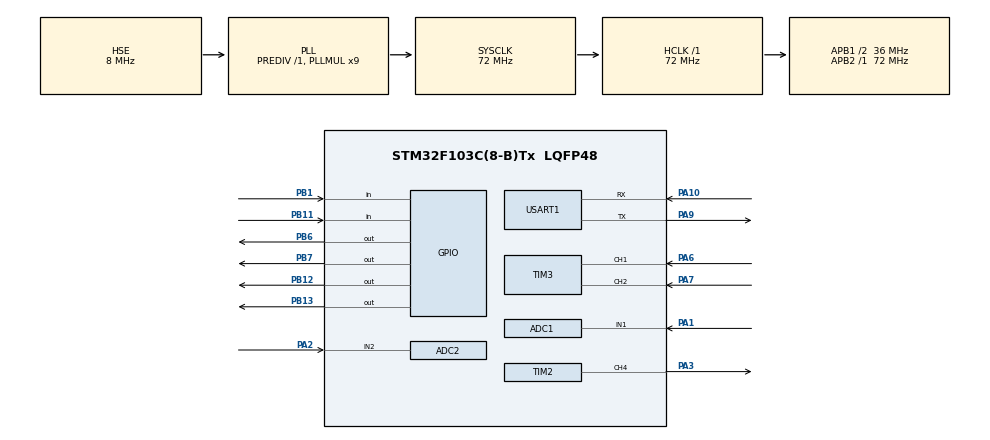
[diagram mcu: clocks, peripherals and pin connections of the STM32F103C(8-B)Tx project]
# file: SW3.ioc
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ADC1.Channel-0\#ChannelRegularConversion=ADC_CHANNEL_1
ADC1.NbrOfConversionFlag=1
ADC1.Rank-0\#ChannelRegularConversion=1
ADC1.SamplingTime-0\#ChannelRegularConversion=ADC_SAMPLETIME_1CYCLE_5
ADC1.master=1
ADC2.Channel-0\#ChannelRegularConversion=ADC_CHANNEL_2
ADC2.NbrOfConversionFlag=1
ADC2.Rank-0\#ChannelRegularConversion=1
ADC2.SamplingTime-0\#ChannelRegularConversion=ADC_SAMPLETIME_1CYCLE_5
FREERTOS.Tasks01=defaultTask,24,128,StartDefaultTask,Default,NULL,Dynamic,NULL,NULL
Mcu.Family=STM32F1
Mcu.Name=STM32F103C(8-B)Tx
Mcu.Package=LQFP48
NVIC.PriorityGroup=NVIC_PRIORITYGROUP_4
NVIC.TIM1_UP_IRQn=true\:15\:0\:false\:false\:true\:false\:false\:true\:true
NVIC.TIM4_IRQn=true\:5\:0\:false\:false\:true\:true\:true\:true\:true
NVIC.TimeBase=TIM1_UP_IRQn
NVIC.TimeBaseIP=TIM1
PA1.Signal=ADCx_IN1
PA10.Mode=Asynchronous
PA10.Signal=USART1_RX
PA13.Mode=Serial_Wire
PA13.Signal=SYS_JTMS-SWDIO
PA14.Mode=Serial_Wire
PA14.Signal=SYS_JTCK-SWCLK
PA2.Signal=ADCx_IN2
PA3.Signal=S_TIM2_CH4
PA6.Signal=S_TIM3_CH1
PA7.Signal=S_TIM3_CH2
PA9.Mode=Asynchronous
PA9.Signal=USART1_TX
PB1.GPIO_PuPd=GPIO_PULLUP
PB1.Signal=GPIO_Input
PB11.GPIO_PuPd=GPIO_PULLUP
PB11.Signal=GPIO_Input
PB12.GPIO_Speed=GPIO_SPEED_FREQ_HIGH
PB12.PinState=GPIO_PIN_SET
PB12.Signal=GPIO_Output
PB13.GPIO_Speed=GPIO_SPEED_FREQ_HIGH
PB13.PinState=GPIO_PIN_SET
PB13.Signal=GPIO_Output
PB6.GPIO_ModeDefaultOutputPP=GPIO_MODE_OUTPUT_OD
PB6.GPIO_PuPd=GPIO_NOPULL
PB6.GPIO_Speed=GPIO_SPEED_FREQ_HIGH
PB6.PinState=GPIO_PIN_SET
PB6.Signal=GPIO_Output
PB7.GPIO_ModeDefaultOutputPP=GPIO_MODE_OUTPUT_OD
PB7.GPIO_PuPd=GPIO_NOPULL
PB7.GPIO_Speed=GPIO_SPEED_FREQ_HIGH
PB7.PinState=GPIO_PIN_SET
PB7.Signal=GPIO_Output
PD0-OSC_IN.Mode=HSE-External-Oscillator
PD0-OSC_IN.Signal=RCC_OSC_IN
PD1-OSC_OUT.Mode=HSE-External-Oscillator
PD1-OSC_OUT.Signal=RCC_OSC_OUT
ProjectManager.HeapSize=0x200
ProjectManager.StackSize=0x400
ProjectManager.TargetToolchain=MDK-ARM V5.32
RCC.ADCPresc=RCC_ADCPCLK2_DIV6
RCC.AHBFreq_Value=72000000
RCC.APB1CLKDivider=RCC_HCLK_DIV2
RCC.APB1Freq_Value=36000000
RCC.APB1TimFreq_Value=72000000
RCC.APB2Freq_Value=72000000
RCC.APB2TimFreq_Value=72000000
RCC.HCLKFreq_Value=72000000
RCC.PLLMUL=RCC_PLL_MUL9
RCC.PLLSourceVirtual=RCC_PLLSOURCE_HSE
RCC.SYSCLKFreq_VALUE=72000000
RCC.SYSCLKSource=RCC_SYSCLKSOURCE_PLLCLK
RCC.USBFreq_Value=72000000
SH.ADCx_IN1.0=ADC1_IN1,IN1
SH.ADCx_IN2.0=ADC2_IN2,IN2
SH.S_TIM2_CH4.0=TIM2_CH4,PWM Generation4 CH4
SH.S_TIM3_CH1.0=TIM3_CH1,Encoder_Interface
SH.S_TIM3_CH2.0=TIM3_CH2,Encoder_Interface
TIM2.Channel-PWM\ Generation4\ CH4=TIM_CHANNEL_4
TIM2.Period=100-1
TIM2.Prescaler=36-1
TIM4.Period=360-1
TIM4.Prescaler=2000-1
USART1.VirtualMode=VM_ASYNC
VP_FREERTOS_VS_CMSIS_V2.Mode=CMSIS_V2
VP_SYS_VS_tim1.Mode=TIM1
VP_TIM2_VS_ClockSourceINT.Mode=Internal
VP_TIM4_VS_ClockSourceINT.Mode=Internal
board=custom

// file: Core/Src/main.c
/* USER CODE BEGIN Header */
/**
  ******************************************************************************
  * @file           : main.c
  * @brief          : Main program body
  ******************************************************************************
  * @attention
  *
  * Copyright (c) 2026 STMicroelectronics.
  * All rights reserved.
  *
  * This software is licensed under terms that can be found in the LICENSE file
  * in the root directory of this software component.
  * If no LICENSE file comes with this software, it is provided AS-IS.
  *
  ******************************************************************************
  */
/* USER CODE END Header */
#include "main.h"
#include "cmsis_os.h"
#include "adc.h"
#include "tim.h"
#include "usart.h"
#include "gpio.h"

/* USER CODE BEGIN Includes */
#include "Key.h"
#include "ecoder.h"
#include "myADC.h"
#include "PWM.h"
/* USER CODE END Includes */

/* USER CODE BEGIN PD */
extern int16_t location;

extern float actual,target,out,cur_error;
extern float kp,ki,kd;
extern float error_Int;
static float last_error = 0;
/* USER CODE END PD */

void SystemClock_Config(void);
void MX_FREERTOS_Init(void);

int main(void)
{

  /* MCU Configuration--------------------------------------------------------*/

  /* Reset of all peripherals, Initializes the Flash interface and the Systick. */
  HAL_Init();

  /* Configure the system clock */
  SystemClock_Config();

  /* Initialize all configured peripherals */
  MX_GPIO_Init();
  MX_ADC1_Init();
  MX_TIM2_Init();
  MX_TIM3_Init();
  MX_TIM4_Init();
  MX_USART1_UART_Init();
  MX_ADC2_Init();
  /* USER CODE BEGIN 2 */
  PWM_Init();

  /* USER CODE END 2 */

  /* Init scheduler */
  osKernelInitialize();  /* Call init function for freertos objects (in cmsis_os2.c) */
  MX_FREERTOS_Init();

  /* Start scheduler */
  osKernelStart();

  /* We should never get here as control is now taken by the scheduler */

  /* Infinite loop */
  while (1)
  {

  }
}

void SystemClock_Config(void)
{
  RCC_OscInitTypeDef RCC_OscInitStruct = {0};
  RCC_ClkInitTypeDef RCC_ClkInitStruct = {0};
  RCC_PeriphCLKInitTypeDef PeriphClkInit = {0};

  /** Initializes the RCC Oscillators according to the specified parameters
  * in the RCC_OscInitTypeDef structure.
  */
  RCC_OscInitStruct.OscillatorType = RCC_OSCILLATORTYPE_HSE;
  RCC_OscInitStruct.HSEState = RCC_HSE_ON;
  RCC_OscInitStruct.HSEPredivValue = RCC_HSE_PREDIV_DIV1;
  RCC_OscInitStruct.HSIState = RCC_HSI_ON;
  RCC_OscInitStruct.PLL.PLLState = RCC_PLL_ON;
  RCC_OscInitStruct.PLL.PLLSource = RCC_PLLSOURCE_HSE;
  RCC_OscInitStruct.PLL.PLLMUL = RCC_PLL_MUL9;
  if (HAL_RCC_OscConfig(&RCC_OscInitStruct) != HAL_OK)
  {
    Error_Handler();
  }

  /** Initializes the CPU, AHB and APB buses clocks
  */
  RCC_ClkInitStruct.ClockType = RCC_CLOCKTYPE_HCLK|RCC_CLOCKTYPE_SYSCLK
                              |RCC_CLOCKTYPE_PCLK1|RCC_CLOCKTYPE_PCLK2;
  RCC_ClkInitStruct.SYSCLKSource = RCC_SYSCLKSOURCE_PLLCLK;
  RCC_ClkInitStruct.AHBCLKDivider = RCC_SYSCLK_DIV1;
  RCC_ClkInitStruct.APB1CLKDivider = RCC_HCLK_DIV2;
  RCC_ClkInitStruct.APB2CLKDivider = RCC_HCLK_DIV1;

  if (HAL_RCC_ClockConfig(&RCC_ClkInitStruct, FLASH_LATENCY_2) != HAL_OK)
  {
    Error_Handler();
  }
  PeriphClkInit.PeriphClockSelection = RCC_PERIPHCLK_ADC;
  PeriphClkInit.AdcClockSelection = RCC_ADCPCLK2_DIV6;
  if (HAL_RCCEx_PeriphCLKConfig(&PeriphClkInit) != HAL_OK)
  {
    Error_Handler();
  }
}

void HAL_TIM_PeriodElapsedCallback(TIM_HandleTypeDef *htim)
{
  if (htim->Instance == TIM1)
  {
    HAL_IncTick();
  }
  /* USER CODE BEGIN Callback 1 */
	if (htim->Instance == TIM4)
	{
    static uint16_t count;
    count++;
    if(count>=40)
    {
    MyTIM_Scan();
    count=0;

		int16_t speed_raw = Get_Speed();
		static int16_t filter_buf[5];
		static uint8_t idx=0;
		filter_buf[idx++] = speed_raw;
		if(idx>=5) idx=0;
		int32_t sum=0;
		for(int i=0;i<5;i++) sum += filter_buf[i];

		actual = sum /5;

	  location+=actual;

	  last_error=cur_error;
		cur_error=target-actual;

    if (ki != 0)
		{
			error_Int +=cur_error;		//进行误差积分
		}
		else
		{
			error_Int = 0;			//误差积分直接归0
		}

		out=kp*cur_error+ki*error_Int+kd*(cur_error-last_error);

		if(out>100)		out=100;
		if(out<-100)	out=-100;

		PWM_Set((int16_t)out);
    }
	}
  /* USER CODE END Callback 1 */
}

void Error_Handler(void)
{
  __disable_irq();
  while (1)
  {
  }
}

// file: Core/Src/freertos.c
/* USER CODE BEGIN Header */
/**
  ******************************************************************************
  * File Name          : freertos.c
  * Description        : Code for freertos applications
  ******************************************************************************
  * @attention
  *
  * Copyright (c) 2026 STMicroelectronics.
  * All rights reserved.
  *
  * This software is licensed under terms that can be found in the LICENSE file
  * in the root directory of this software component.
  * If no LICENSE file comes with this software, it is provided AS-IS.
  *
  ******************************************************************************
  */
/* USER CODE END Header */

#include "FreeRTOS.h"
#include "task.h"
#include "main.h"
#include "cmsis_os.h"

/* USER CODE BEGIN Includes */
#include "Key.h"
#include "OLED.h"
#include "myusart.h"
#include "ecoder.h"
#include "myADC.h"
#include "PWM.h"
/* USER CODE END Includes */

/* USER CODE BEGIN PD */
extern TIM_HandleTypeDef htim2;

int16_t location;
uint16_t ADC_1,ADC_2;
float actual,target=0,out,cur_error,error_Int;
float kp,ki,kd;
/* USER CODE END PD */

/* Definitions for defaultTask */
osThreadId_t defaultTaskHandle;
const osThreadAttr_t defaultTask_attributes = {
  .name = "defaultTask",
  .stack_size = 128 * 4,
  .priority = (osPriority_t) osPriorityNormal,
};

/* USER CODE BEGIN FunctionPrototypes */

/**
  * @brief  OLED显示屏部分
  * @param  无
  * @retval 无
  */
void Test_OLED(void *argument)
{
	OLED_Init();

	OLED_ShowString(1,1,"Tar:");
	OLED_ShowString(1,9,"Act:");
	OLED_ShowString(2,1,"Ac:");
	OLED_ShowString(2,9,"Lo:");
  OLED_ShowString(2,1,"Out:");
  OLED_ShowString(3,1,"Kp:");
  OLED_ShowString(3,9,"Ki");
	OLED_ShowString(4,1,"kd:");

	while(1)
	{
		OLED_ShowSignedNum(1,5,target,3);
		OLED_ShowSignedNum(1,13,actual,3);
		OLED_ShowSignedNum(2,12,location,4);
    OLED_ShowSignedNum(2,5,out,2);
    OLED_ShowNum(3,4,kp,2);

    OLED_ShowFloat(3,4,kp,1,2);
    OLED_ShowFloat(3,11,ki,1,3);
    OLED_ShowFloat(4,4,kd,1,2);

		osDelay(40);
	}
}

/**
  * @brief  串口部分
  * @param  无
  * @retval 无
  */
void Test_Usart(void *argument)
{
  while (1)
  {
    Send_JustFloat(target,actual,cur_error,out);
		osDelay(40);
  }
}

/**
  * @brief  电机部分
  * @param  无
  * @retval 无
  */
void Test_Motor(void *argument)
{

	Key_Init();
	PWM_Init();

	while(1)
	{
   if(target>40)
   {
    target=0;
   }
   if(Key_Get(0))
   {
    target+=10;
   }
   if(kd>2)
   {
    kd=0;
   }
   if(Key_Get(1))
   {
    target-=10;;
   }
			// PWM=(float)ADC*100/2048-100;
      // PWM_Set(PWM);

      osDelay(20);
	}
}

/**
  * @brief  编码器部分
  * @param  无
  * @retval 无
  */
void Test_Ecoder(void *argument)
{
	ecoder_Init();

	while(1)
	{
		osDelay(40);
	}
}

/**
  * @brief  模转数部分
  * @param  无
  * @retval 无
  */
void Test_ADC(void *argument)
{
	MyADC_Init();
	while(1)
	{
	  ADC_1=Get_ADC(hadc1);
    ADC_2=Get_ADC(hadc2);
    kp=ADC_1/4095.0f*8;
    ki=ADC_2/4095.0f*4;
		osDelay(40);
	}
}
/* USER CODE END FunctionPrototypes */

void StartDefaultTask(void *argument);

void MX_FREERTOS_Init(void); /* (MISRA C 2004 rule 8.1) */

void MX_FREERTOS_Init(void) {

  /* Create the thread(s) */
  /* creation of defaultTask */
  defaultTaskHandle = osThreadNew(StartDefaultTask, NULL, &defaultTask_attributes);

  /* USER CODE BEGIN RTOS_THREADS */
  /* add threads, ... */
	xTaskCreate(Test_OLED,"TestOLED",64,NULL,osPriorityNormal,NULL);
	xTaskCreate(Test_Motor,"TestMotor",64,NULL,osPriorityNormal,NULL);
	xTaskCreate(Test_ADC,"TestADC",64,NULL,osPriorityNormal,NULL);
	xTaskCreate(Test_Ecoder,"TestEcoder",64,NULL,osPriorityNormal,NULL);
  xTaskCreate(Test_Usart,"TestUsart",64,NULL,osPriorityNormal,NULL);
  /* USER CODE END RTOS_THREADS */

}

void StartDefaultTask(void *argument)
{
  /* USER CODE BEGIN StartDefaultTask */
  /* Infinite loop */
  for(;;)
  {
//    osDelay(1);
  }
  /* USER CODE END StartDefaultTask */
}
